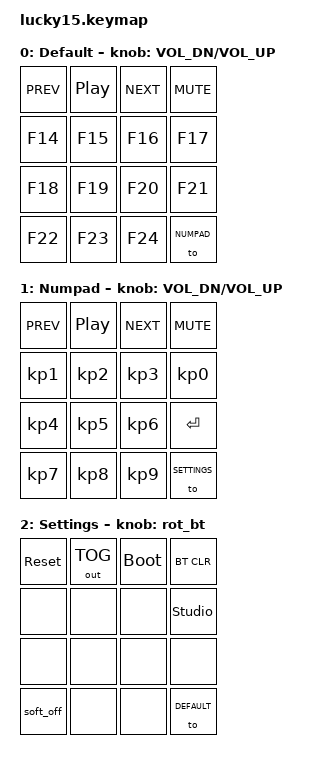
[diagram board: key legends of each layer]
// This file was generated from a template. Edit it to match your keyboard.
// See https://zmk.dev/docs/development/hardware-integration/new-shield for more instructions.

#include <behaviors.dtsi>
#include <dt-bindings/zmk/bt.h>
#include <dt-bindings/zmk/keys.h>
#include <dt-bindings/zmk/outputs.h>

// defining layer numbers for reference
#define DEFAULT 0
#define NUMPAD 1
#define SETTINGS 2


/ {
    behaviors {
        rot_bt: bluetooth_encoder {
            compatible = "zmk,behavior-sensor-rotate";
            #sensor-binding-cells = <0>;
            bindings = <&bt BT_PRV>, <&bt BT_NXT>;
        };

        soft_off: soft_off {
            hold-time-ms = <1000>;
        };
    };


    // Define a default keymap here.
    // See https://zmk.dev/docs/development/hardware-integration/new-shield#default-keymap.
    keymap {
        compatible = "zmk,keymap";
        default_layer {
            display-name = "Default";
            // | Pre | P/P | Nxt | Mut |
            // | F14 | F15 | F16 | F17 |
            // | F18 | F19 | F20 | F21 |
            // | F22 | F23 | F24 | Layer |
            bindings = <
                &kp C_PREV  &kp C_PP    &kp C_NEXT  &kp C_MUTE
                &kp F14     &kp F15     &kp F16     &kp F17
                &kp F18     &kp F19     &kp F20     &kp F21
                &kp F22     &kp F23     &kp F24     &to NUMPAD
            >;
            sensor-bindings = <&inc_dec_kp C_VOL_DN C_VOL_UP>;
        };

        // NUMPAD LAYER
        numpad_layer {
            display-name = "Numpad";
            // | Pre | P/P | Nxt | Mut |
            // |  1  |  2  |  3  |  0  |
            // |  4  |  5  |  6  |  Enter  |
            // |  7  |  8  |  9  |  Layer  |
            bindings = <
                &kp C_PREV    &kp C_PP      &kp C_NEXT    &kp C_MUTE
                &kp KP_N1     &kp KP_N2     &kp KP_N3     &kp KP_N0
                &kp KP_N4     &kp KP_N5     &kp KP_N6     &kp ENTER
                &kp KP_N7     &kp KP_N8     &kp KP_N9     &to SETTINGS
            >;
            sensor-bindings = <&inc_dec_kp C_VOL_DN C_VOL_UP>;
        };

        // SETTINGS LAYER
        settings_layer {
            display-name = "Settings";
            // | SysReset | OutTog | BootLoader | ClearBT |
            // |    |    |    |  Studio Unlock  |
            // |    |    |    |    |
            // |  Soft Off  |    |    |  Layer  |
            bindings = <
                &sys_reset      &out OUT_TOG  &bootloader     &bt BT_CLR
                &none           &none         &none           &studio_unlock 
                &none           &none         &none           &none 
                &soft_off       &none         &none           &to DEFAULT
            >;
            sensor-bindings = <&rot_bt>;
        };
    };
};
